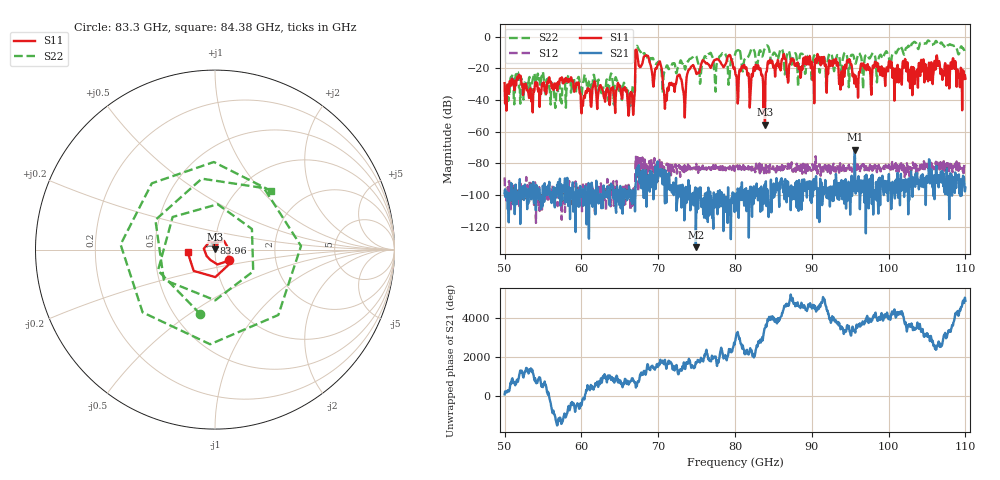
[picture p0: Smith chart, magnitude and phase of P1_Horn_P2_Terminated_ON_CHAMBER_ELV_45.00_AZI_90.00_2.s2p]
! 11/26/2026 10:51:17 AM
! C:\ANRITSUVNA\TEMP\TEMP.S2P
! CHANNEL.1
! TR.MEASUREMENT
! RAW.DATA
# HZ S RI R 50.0
! FREQ.HZ  S11RE  S11IM  S21RE  S21IM  S12RE  S12IM  S22RE  S22IM
!; PortSelection: Port_12
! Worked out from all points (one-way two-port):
!   1001 points, 50 GHz to 110 GHz, reference 50 ohm
!   highest |S21| = -71.40 dB at 95.6 GHz (marker M1); lowest = -133.0 dB at 74.9 GHz (marker M2)
!   lowest |S11| = -55.6 dB at 83.9 GHz (marker M3), VSWR 1.00, Z = 49.8 + j0.0556 ohm
!   |S11| at or under -10 dB: start of sweep to 67.04 GHz; 67.24 GHz to end of sweep
!   |S22| runs from -45.0 to -2.4 dB; largest |S21 - S12| = 0.00042
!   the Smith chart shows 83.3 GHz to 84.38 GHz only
!   S11 on the Smith chart (normalised r, x): 83.3 GHz: 1.16, -0.14; 83.96 GHz: 0.98, +0.08; 84.38 GHz: 0.73, -0.02
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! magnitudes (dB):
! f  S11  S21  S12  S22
! 50 GHz  -29.4  -99.0  -88.9  -33.7
! 58.46 GHz  -27.0  -98.3  -99.7  -24.6
! 60.02 GHz  -48.4  -101.3  -99.1  -38.2
! 66.44 GHz  -35.5  -104.0  -99.4  -39.5
! 67.34 GHz  -13.7  -85.4  -76.2  -6.6
! 70.04 GHz  -17.1  -83.4  -82.1  -15.9
! 71 GHz  -37.0  -96.4  -84.4  -20.2
! 74.9 GHz  -22.2  -133.0  -83.9  -12.1
! 77.48 GHz  -14.7  -106.2  -81.2  -34.7
! 78.56 GHz  -19.2  -99.8  -84.1  -10.0
! 79.28 GHz  -11.5  -103.5  -83.8  -27.1
! 80 GHz  -21.2  -99.1  -82.0  -11.3
! 83.3 GHz  -20.0  -110.6  -81.6  -8.6
! 83.9 GHz  -55.6  -97.1  -84.1  -7.2
! 83.96 GHz  -28.1  -95.8  -84.8  -6.4
! 84.38 GHz  -16.3  -114.0  -82.4  -6.9
! 90.02 GHz  -16.0  -91.6  -82.9  -26.8
! 94.88 GHz  -14.2  -95.5  -82.5  -27.9
! 95.6 GHz  -26.7  -71.4  -75.6  -15.1
! 100 GHz  -15.6  -86.8  -80.9  -13.3
! 103.3 GHz  -26.1  -90.8  -83.9  -3.3
! 110 GHz  -26.4  -95.4  -82.3  -11.0
